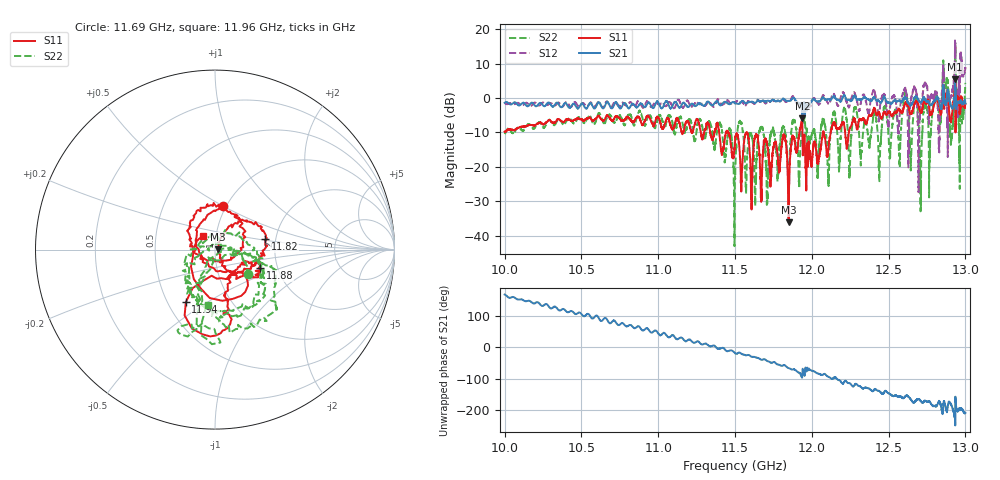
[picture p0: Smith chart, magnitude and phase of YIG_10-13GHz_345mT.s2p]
#  HZ  S  RI  R  50.0
! Rohde & Schwarz ZVL13 2Ports - Version 3.31 - 1303.6509k13 SN: 101088
! Date: 2023-03-06 15:57:56
! Data & Calibration Information:
! Trc4:S11(TOSM) Trc2:S21(TOSM) Trc3:S12(TOSM) Trc5:S22(TOSM)
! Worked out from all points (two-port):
!   4000 points, 10 GHz to 13 GHz, reference 50 ohm
!   highest |S21| = 5.38 dB at 12.93 GHz (marker M1); lowest = -5.9 dB at 11.94 GHz (marker M2)
!   |S21| within 3 dB of the highest: 12.85409 GHz to 12.85828 GHz (4.192 MHz wide, 0.0326 % of centre); 12.88426 GHz to 12.88463 GHz (372.1 kHz wide, 0.00289 % of centre)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
!   lowest |S11| = -36.2 dB at 11.85 GHz (marker M3), VSWR 1.03, Z = 51.6 + j0.155 ohm
!   |S11| at or under -10 dB: 11.46 GHz to 11.58 GHz (118.5 MHz wide, 1.03 % of centre); 11.58 GHz to 11.92 GHz (343.5 MHz wide, 2.92 % of centre); 11.94 GHz to 12.07 GHz (132.7 MHz wide, 1.11 % of centre)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
!   |S22| runs from -43.0 to 15.2 dB; largest |S21 - S12| = 5.9
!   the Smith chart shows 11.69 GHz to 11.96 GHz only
!   S11 on the Smith chart (normalised r, x): 11.69 GHz: 0.96, +0.49; 11.82 GHz: 1.76, +0.22; 11.88 GHz: 1.63, -0.35; 11.94 GHz: 0.62, -0.41; 11.96 GHz: 0.86, +0.13
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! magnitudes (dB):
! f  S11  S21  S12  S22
! 10 GHz  -9.7  -1.4  -1.5  -10.5
! 10.5 GHz  -6.3  -1.6  -1.8  -5.7
! 11 GHz  -5.6  -1.2  -1.9  -5.7
! 11.4 GHz  -11.4  -2.0  -1.2  -7.3
! 11.5 GHz  -11.6  -1.5  -1.4  -23.2
! 11.53 GHz  -15.5  -1.6  -1.3  -6.8
! 11.57 GHz  -10.2  -1.5  -2.0  -25.1
! 11.69 GHz  -12.3  -1.0  -1.3  -12.7
! 11.82 GHz  -10.9  -0.2  -0.3  -8.4
! 11.85 GHz  -36.2  -0.8  -0.9  -30.2
! 11.88 GHz  -11.3  0.0  0.1  -6.6
! 11.94 GHz  -7.9  -5.9  -4.9  -5.9
! 11.94 GHz  -9.5  -5.6  -4.7  -5.9
! 11.96 GHz  -19.7  -2.9  -2.9  -10.2
! 12 GHz  -18.6  -0.8  -0.9  -10.5
! 12.5 GHz  -3.9  -1.3  -8.0  -11.4
! 12.61 GHz  -1.3  0.0  2.1  1.5
! 12.71 GHz  -4.0  -1.2  -2.1  -24.0
! 12.87 GHz  -0.4  -1.1  1.1  3.8
! 12.91 GHz  -5.7  -2.6  0.7  -12.1
! 12.93 GHz  5.3  5.4  16.7  14.3
! 13 GHz  -1.8  -1.6  9.0  4.1
